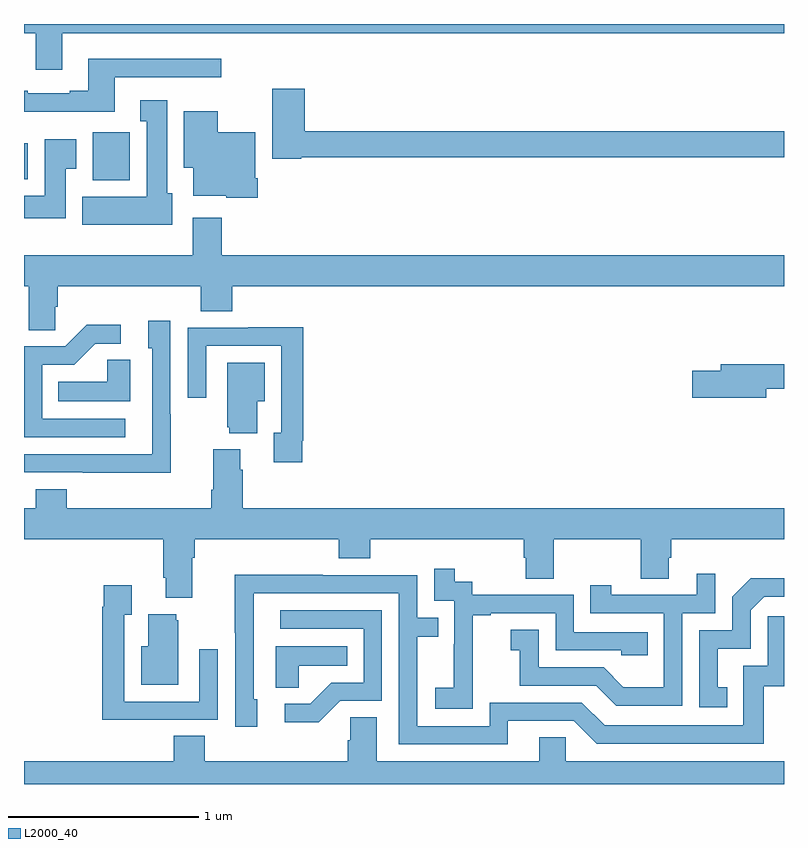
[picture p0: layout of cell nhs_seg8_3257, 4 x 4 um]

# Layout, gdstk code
import gdstk
lib = gdstk.Library(unit=1e-6, precision=1e-09)
def R(c, l, rs):  # rectangles x0, y0, x1, y1
    for r in rs: c.add(gdstk.rectangle(r[:2], r[2:], *l))
def P(c, l, *ps):  # polygons
    for p in ps: c.add(gdstk.Polygon(p, *l))
L2000_40 = (2000, 40)

nhs_seg8_3257 = lib.new_cell('nhs_seg8_3257')
R(nhs_seg8_3257, L2000_40, [(313.361,1097.078,313.557,1097.329), (313,1097.084,313.021,1097.272)])
P(nhs_seg8_3257, L2000_40, [(313.201,1097.852),(317,1097.852),(317,1097.9),(313,1097.9),(313,1097.852),(313.061,1097.852),(313.061,1097.658),(313.201,1097.658)],
  [(313.477,1097.619),(314.038,1097.619),(314.038,1097.716),(313.337,1097.716),(313.337,1097.548),(313.241,1097.548),(313.241,1097.535),(313.021,1097.535),(313.021,1097.548),(313,1097.548),(313,1097.438),(313.477,1097.438)],
  [(314.46,1097.2),(317,1097.2),(317,1097.336),(314.477,1097.336),(314.477,1097.56),(314.306,1097.56),(314.306,1097.192),(314.46,1097.192)],
  [(313.78,1097.01),(313.753,1097.01),(313.753,1097.5),(313.613,1097.5),(313.613,1097.387),(313.646,1097.387),(313.646,1096.99),(313.307,1096.99),(313.307,1096.844),(313.78,1096.844)],
  [(314.231,1097.089),(314.218,1097.089),(314.218,1097.329),(314.02,1097.329),(314.02,1097.44),(313.841,1097.44),(313.841,1097.144),(313.892,1097.144),(313.892,1096.997),(314.064,1096.997),(314.064,1096.985),(314.231,1096.985)],
  [(313.219,1097.137),(313.276,1097.137),(313.276,1097.293),(313.109,1097.293),(313.109,1096.996),(313,1096.996),(313,1096.878),(313.219,1096.878)],
  [(313.164,1096.411),(313.178,1096.411),(313.178,1096.52),(313.931,1096.52),(313.931,1096.387),(314.096,1096.387),(314.096,1096.52),(317,1096.52),(317,1096.684),(314.042,1096.684),(314.042,1096.879),(313.889,1096.879),(313.889,1096.684),(313,1096.684),(313,1096.52),(313.025,1096.52),(313.025,1096.288),(313.164,1096.288)],
  [(313.773,1095.845),(313.77,1095.845),(313.77,1096.339),(313.655,1096.339),(313.655,1096.194),(313.674,1096.194),(313.674,1095.636),(313,1095.636),(313,1095.54),(313.309,1095.54),(313.309,1095.539),(313.773,1095.539)],
  [(313.534,1095.822),(313.095,1095.822),(313.095,1096.107),(313.264,1096.107),(313.375,1096.218),(313.51,1096.218),(313.51,1096.316),(313.331,1096.316),(313.218,1096.203),(313,1096.203),(313,1095.726),(313.534,1095.726)],
  [(314.464,1095.706),(314.471,1095.706),(314.471,1096.304),(314.179,1096.304),(314.179,1096.302),(313.863,1096.302),(313.863,1095.933),(313.959,1095.933),(313.959,1096.206),(314.355,1096.206),(314.355,1095.75),(314.315,1095.75),(314.315,1095.594),(314.464,1095.594)],
  [(313.558,1096.133),(313.437,1096.133),(313.437,1096.018),(313.18,1096.018),(313.18,1095.914),(313.558,1095.914)],
  [(314.227,1095.914),(314.266,1095.914),(314.266,1096.117),(314.069,1096.117),(314.069,1095.777),(314.081,1095.777),(314.081,1095.746),(314.227,1095.746)],
  [(316.906,1095.979),(317,1095.979),(317,1096.108),(316.667,1096.108),(316.667,1096.074),(316.518,1096.074),(316.518,1095.932),(316.906,1095.932)],
  [(314.15,1095.554),(314.137,1095.554),(314.137,1095.661),(313.997,1095.661),(313.997,1095.448),(313.985,1095.448),(313.985,1095.352),(313.226,1095.352),(313.226,1095.451),(313.061,1095.451),(313.061,1095.352),(313,1095.352),(313,1095.188),(313.733,1095.188),(313.733,1094.986),(313.745,1094.986),(313.745,1094.879),(313.885,1094.879),(313.885,1095.092),(313.898,1095.092),(313.898,1095.188),(314.657,1095.188),(314.657,1095.089),(314.822,1095.089),(314.822,1095.188),(315.629,1095.188),(315.629,1095.09),(315.641,1095.09),(315.641,1094.98),(315.789,1094.98),(315.789,1095.188),(316.246,1095.188),(316.246,1094.98),(316.393,1094.98),(316.393,1095.09),(316.406,1095.09),(316.406,1095.188),(317,1095.188),(317,1095.352),(314.15,1095.352)],
  [(315.363,1094.503),(315.362,1094.503),(315.362,1094.787),(315.457,1094.787),(315.457,1094.799),(315.798,1094.799),(315.798,1094.604),(316.143,1094.604),(316.143,1094.577),(316.283,1094.577),(316.283,1094.7),(315.894,1094.7),(315.894,1094.895),(315.36,1094.895),(315.36,1094.964),(315.268,1094.964),(315.268,1095.034),(315.159,1095.034),(315.159,1094.865),(315.264,1094.865),(315.264,1094.636),(315.263,1094.636),(315.263,1094.407),(315.165,1094.407),(315.165,1094.297),(315.363,1094.297)],
  [(316.464,1094.799),(316.638,1094.799),(316.638,1095.007),(316.541,1095.007),(316.541,1094.895),(316.09,1094.895),(316.09,1094.947),(315.979,1094.947),(315.979,1094.799),(316.368,1094.799),(316.368,1094.41),(316.154,1094.41),(316.05,1094.514),(315.708,1094.514),(315.708,1094.713),(315.561,1094.713),(315.561,1094.603),(315.61,1094.603),(315.61,1094.418),(316.013,1094.418),(316.118,1094.313),(316.464,1094.313)],
  [(315.547,1094.232),(315.894,1094.232),(316.014,1094.112),(316.894,1094.112),(316.894,1094.415),(317,1094.415),(317,1094.782),(316.914,1094.782),(316.914,1094.523),(316.785,1094.523),(316.785,1094.208),(316.056,1094.208),(315.936,1094.328),(315.45,1094.328),(315.45,1094.205),(315.069,1094.205),(315.069,1094.674),(315.179,1094.674),(315.179,1094.775),(315.069,1094.775),(315.069,1095),(314.573,1095),(314.573,1095.002),(314.11,1095.002),(314.11,1094.695),(314.112,1094.695),(314.112,1094.202),(314.227,1094.202),(314.227,1094.346),(314.208,1094.346),(314.208,1094.904),(314.973,1094.904),(314.973,1094.109),(315.547,1094.109)],
  [(316.7,1094.409),(316.651,1094.409),(316.651,1094.613),(316.824,1094.613),(316.824,1094.814),(316.896,1094.886),(317,1094.886),(317,1094.984),(316.826,1094.984),(316.728,1094.886),(316.728,1094.709),(316.554,1094.709),(316.554,1094.304),(316.7,1094.304)],
  [(313.703,1094.238),(314.019,1094.238),(314.019,1094.608),(313.923,1094.608),(313.923,1094.334),(313.527,1094.334),(313.527,1094.791),(313.567,1094.791),(313.567,1094.947),(313.419,1094.947),(313.419,1094.834),(313.411,1094.834),(313.411,1094.237),(313.703,1094.237)],
  [(314.664,1094.337),(314.883,1094.337),(314.883,1094.814),(314.349,1094.814),(314.349,1094.718),(314.787,1094.718),(314.787,1094.433),(314.618,1094.433),(314.507,1094.322),(314.373,1094.322),(314.373,1094.225),(314.551,1094.225)],
  [(313.813,1094.763),(313.802,1094.763),(313.802,1094.794),(313.655,1094.794),(313.655,1094.626),(313.616,1094.626),(313.616,1094.423),(313.813,1094.423)],
  [(314.445,1094.522),(314.702,1094.522),(314.702,1094.626),(314.324,1094.626),(314.324,1094.407),(314.445,1094.407)],
  [(317,1094.02),(315.852,1094.02),(315.852,1094.147),(315.713,1094.147),(315.713,1094.02),(314.857,1094.02),(314.857,1094.252),(314.718,1094.252),(314.718,1094.129),(314.705,1094.129),(314.705,1094.02),(313.952,1094.02),(313.952,1094.153),(313.787,1094.153),(313.787,1094.02),(313,1094.02),(313,1093.9),(317,1093.9)])

lib.write_gds('nhs_seg8_3257.gds')
